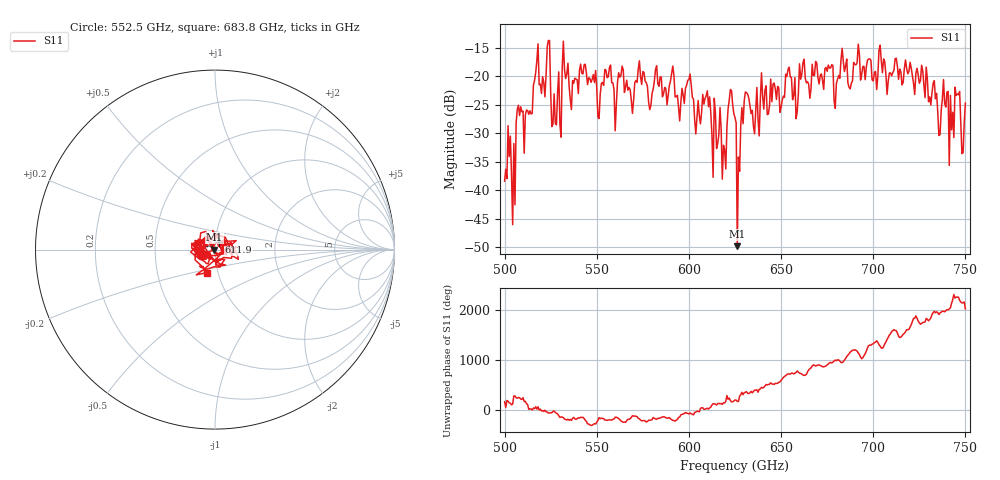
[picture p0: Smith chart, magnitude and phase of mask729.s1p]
!Created with skrf (http://scikit-rf.org).
# GHz S MA R 50.0
!freq magS11 angS11
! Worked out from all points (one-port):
!   401 points, 500 GHz to 750 GHz, reference 50 ohm
!   lowest |S11| = -49.9 dB at 626.2 GHz (marker M1), VSWR 1.01, Z = 49.7 + j0.0212 ohm
!   |S11| at or under -10 dB: start of sweep to end of sweep
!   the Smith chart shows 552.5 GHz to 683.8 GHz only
!   S11 on the Smith chart (normalised r, x): 552.5 GHz: 0.85, -0.06; 611.9 GHz: 1.04, +0.09; 683.8 GHz: 0.89, -0.23
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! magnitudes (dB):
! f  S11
! 500 GHz  -38.4
! 505 GHz  -31.9
! 507.5 GHz  -25.1
! 513.8 GHz  -26.1
! 516.9 GHz  -19.4
! 523.8 GHz  -13.8
! 526.9 GHz  -23.1
! 531.2 GHz  -18.6
! 552.5 GHz  -21.3
! 562.5 GHz  -20.2
! 579.4 GHz  -25.2
! 590.6 GHz  -19.5
! 593.8 GHz  -23.4
! 600 GHz  -20.6
! 611.9 GHz  -26.5
! 619.4 GHz  -33.0
! 622.5 GHz  -22.4
! 625 GHz  -27.3
! 626.2 GHz  -49.9
! 631.2 GHz  -22.9
! 635 GHz  -28.8
! 656.2 GHz  -24.2
! 680 GHz  -21.3
! 683.8 GHz  -17.4
! 687.5 GHz  -22.3
! 691.2 GHz  -17.7
! 718.8 GHz  -19.6
! 750 GHz  -24.7
